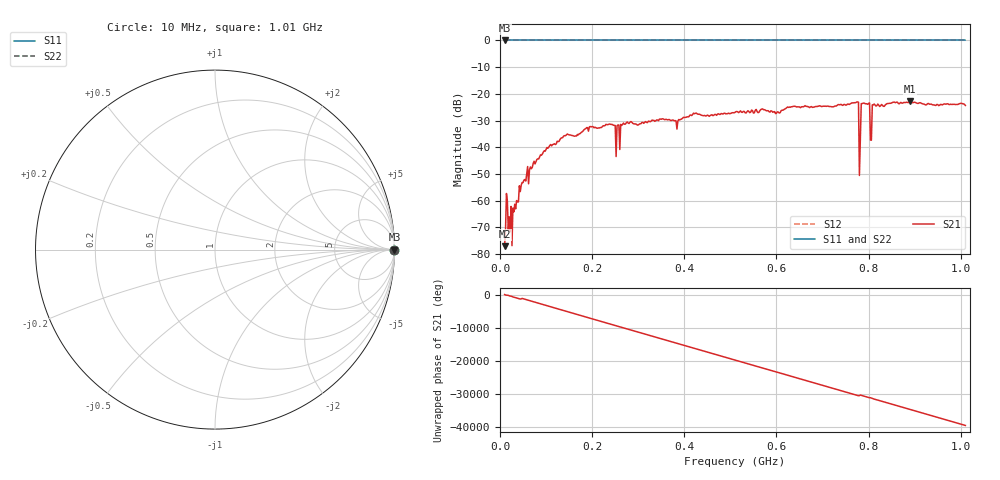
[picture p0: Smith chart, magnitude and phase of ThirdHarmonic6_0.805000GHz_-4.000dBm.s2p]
! 8/16/2025 2:49:05 AM
! C:\ANRITSUVNA\TEMP\TEMP.S2P
! CHANNEL.1
! TR.MEASUREMENT
! RAW.DATA
! RF.CORRECTION.OFF
! AVERAGING.OFF
! IF.BANDWIDTH: 5KHZ
! SWEEPTYPE:  FREQ.SWEEP(Linear)
! Reference Plane Port Info
! PORT:  PORT1  PORT2
! DISTANCE:  0  m  0  m
! TIME:  0  s  0  s
! PHASE.OFFSET:  0  deg.  0  deg.
! LOSS:  0  dB  0  dB
! REF.LOSS:  0  dB  0  dB
! REF.FREQ:  0  Hz  0  Hz
! Power Info
! POWER:  -20  dBm  -20  dBm
! EFF.POWER:  -20  dBm  -20  dBm
! SOURCE.ATTEN:  0  dB  0  dB
! TEST.ATTEN:  0  dB  0  dB
# GHZ S RI R 50.0
! FREQ.GHZ  S11RE  S11IM  S21RE  S21IM  S12RE  S12IM  S22RE  S22IM
!; PortSelection: Port_12
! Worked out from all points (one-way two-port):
!   501 points, 10 MHz to 1.01 GHz, reference 50 ohm
!   highest |S21| = -22.78 dB at 890 MHz (marker M1); lowest = -77.1 dB at 10 MHz (marker M2)
!   lowest |S11| = 0.0 dB at 10 MHz (marker M3)
!   |S11| at or under -10 dB: nowhere
!   |S22| runs from 0.0 to 0.0 dB; largest |S21 - S12| = 1.1
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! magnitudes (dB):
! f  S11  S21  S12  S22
! 10 MHz  0.0  -77.1  0.0  0.0
! 16 MHz  0.0  -60.3  0.0  0.0
! 22 MHz  0.0  -71.7  0.0  0.0
! 46 MHz  0.0  -54.2  0.0  0.0
! 76 MHz  0.0  -46.3  0.0  0.0
! 178 MHz  0.0  -34.2  0.0  0.0
! 240 MHz  0.0  -31.4  0.0  0.0
! 256 MHz  0.0  -31.7  0.0  0.0
! 266 MHz  0.0  -31.5  0.0  0.0
! 344 MHz  0.0  -30.0  0.0  0.0
! 510 MHz  0.0  -27.0  0.0  0.0
! 678 MHz  0.0  -25.1  0.0  0.0
! 774 MHz  0.0  -23.1  0.0  0.0
! 778 MHz  0.0  -23.2  0.0  0.0
! 784 MHz  0.0  -23.7  0.0  0.0
! 788 MHz  0.0  -23.5  0.0  0.0
! 798 MHz  0.0  -23.9  0.0  0.0
! 808 MHz  0.0  -24.1  0.0  0.0
! 812 MHz  0.0  -23.8  0.0  0.0
! 844 MHz  0.0  -23.6  0.0  0.0
! 890 MHz  0.0  -22.8  0.0  0.0
! 1.01 GHz  0.0  -24.4  0.0  0.0
